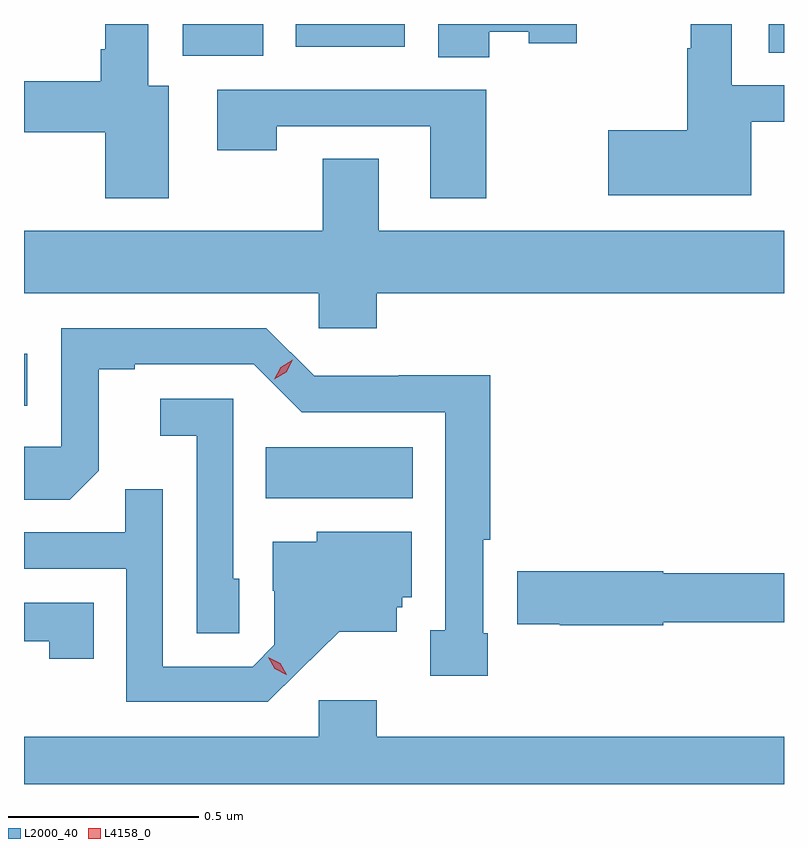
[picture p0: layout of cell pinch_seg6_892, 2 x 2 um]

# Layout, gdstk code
import gdstk
lib = gdstk.Library(unit=1e-6, precision=1e-09)
def R(c, l, rs):  # rectangles x0, y0, x1, y1
    for r in rs: c.add(gdstk.rectangle(r[:2], r[2:], *l))
def P(c, l, *ps):  # polygons
    for p in ps: c.add(gdstk.Polygon(p, *l))
L2000_40 = (2000, 40)
L4158_0 = (4158, 0)

pinch_seg6_892 = lib.new_cell('pinch_seg6_892')
R(pinch_seg6_892, L2000_40, [(144.25,989.42,144.637,989.554), (143.614,989.664,143.623,989.8), (144.032,990.584,144.244,990.668), (145.574,990.592,145.614,990.668), (144.329,990.608,144.616,990.668)])
P(pinch_seg6_892, L2000_40, [(143.995,990.505),(143.941,990.505),(143.941,990.668),(143.828,990.668),(143.828,990.601),(143.816,990.601),(143.816,990.518),(143.614,990.518),(143.614,990.383),(143.828,990.383),(143.828,990.21),(143.995,990.21)],
  [(144.838,990.647),(144.942,990.647),(144.942,990.617),(145.068,990.617),(145.068,990.668),(144.704,990.668),(144.704,990.58),(144.838,990.58)],
  [(145.528,990.411),(145.614,990.411),(145.614,990.507),(145.476,990.507),(145.476,990.668),(145.368,990.668),(145.368,990.604),(145.36,990.604),(145.36,990.389),(145.152,990.389),(145.152,990.218),(145.528,990.218)],
  [(144.831,990.495),(144.123,990.495),(144.123,990.336),(144.279,990.336),(144.279,990.399),(144.683,990.399),(144.683,990.21),(144.831,990.21)],
  [(144.542,989.96),(145.614,989.96),(145.614,990.124),(144.547,990.124),(144.547,990.314),(144.4,990.314),(144.4,990.124),(143.614,990.124),(143.614,989.96),(144.39,989.96),(144.39,989.867),(144.542,989.867)],
  [(144.834,989.065),(144.823,989.065),(144.823,989.311),(144.841,989.311),(144.841,989.744),(144.6,989.744),(144.6,989.742),(144.378,989.742),(144.252,989.868),(143.712,989.868),(143.712,989.556),(143.614,989.556),(143.614,989.416),(143.735,989.416),(143.811,989.492),(143.811,989.76),(143.905,989.76),(143.905,989.772),(144.219,989.772),(144.345,989.646),(144.722,989.646),(144.722,989.073),(144.683,989.073),(144.683,988.953),(144.834,988.953)],
  [(144.18,989.208),(144.165,989.208),(144.165,989.682),(143.973,989.682),(143.973,989.585),(144.069,989.585),(144.069,989.065),(144.18,989.065)],
  [(144.34,988.967),(144.443,989.069),(144.595,989.069),(144.595,989.133),(144.609,989.133),(144.609,989.16),(144.634,989.16),(144.634,989.332),(144.384,989.332),(144.384,989.305),(144.269,989.305),(144.269,989.176),(144.273,989.176),(144.273,989.034),(144.216,988.977),(143.979,988.977),(143.979,989.444),(143.881,989.444),(143.881,989.331),(143.614,989.331),(143.614,989.235),(143.883,989.235),(143.883,988.884),(144.256,988.884)],
  [(145.296,989.094),(145.614,989.094),(145.614,989.222),(145.296,989.222),(145.296,989.228),(144.912,989.228),(144.912,989.089),(145.024,989.089),(145.024,989.086),(145.296,989.086)],
  [(143.798,989.145),(143.614,989.145),(143.614,989.044),(143.68,989.044),(143.68,988.998),(143.798,988.998)],
  [(145.614,988.792),(144.542,988.792),(144.542,988.888),(144.39,988.888),(144.39,988.792),(143.614,988.792),(143.614,988.668),(145.614,988.668)])
P(pinch_seg6_892, L4158_0, [(144.272,989.733),(144.272,989.733),(144.289,989.765),(144.321,989.784),(144.321,989.784),(144.321,989.784),(144.304,989.751),(144.272,989.733)],
  [(144.304,988.956),(144.274,988.971),(144.257,989.001),(144.257,989.001),(144.257,989.001),(144.288,988.986),(144.305,988.956),(144.305,988.956)])

lib.write_gds('pinch_seg6_892.gds')
